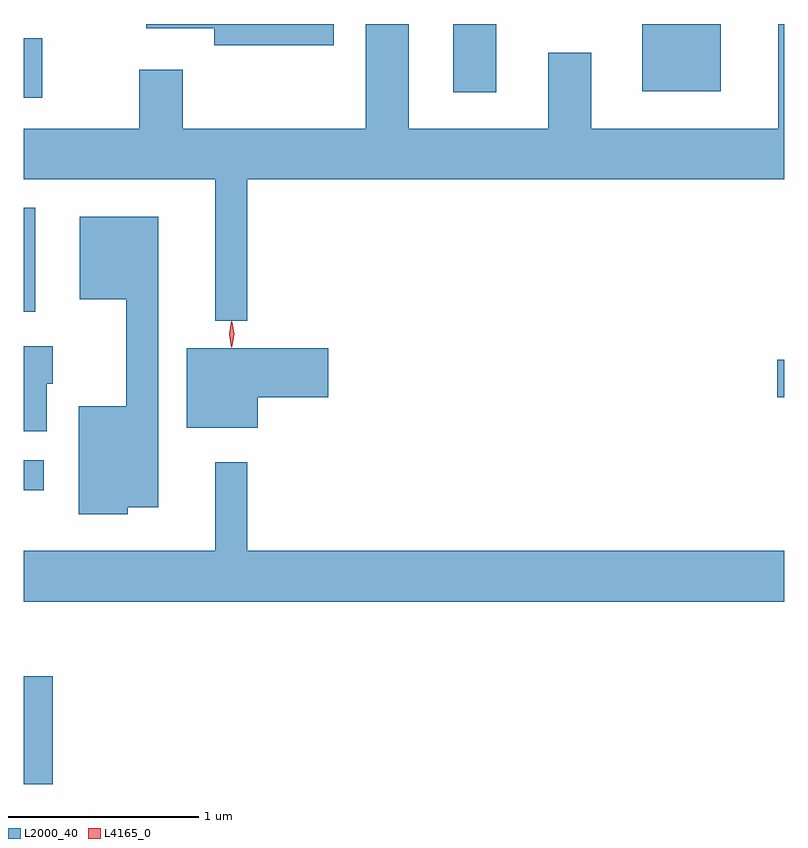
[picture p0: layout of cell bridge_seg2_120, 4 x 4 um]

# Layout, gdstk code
import gdstk
lib = gdstk.Library(unit=1e-6, precision=1e-09)
def R(c, l, rs):  # rectangles x0, y0, x1, y1
    for r in rs: c.add(gdstk.rectangle(r[:2], r[2:], *l))
def P(c, l, *ps):  # polygons
    for p in ps: c.add(gdstk.Polygon(p, *l))
L2000_40 = (2000, 40)
L4165_0 = (4165, 0)

bridge_seg2_120 = lib.new_cell('bridge_seg2_120')
R(bridge_seg2_120, L2000_40, [(984.603,1049.576,984.754,1050.144), (984.603,1051.121,984.708,1051.279), (988.566,1051.611,988.603,1051.809), (984.603,1052.061,984.664,1052.608), (984.603,1053.186,984.699,1053.499), (986.861,1053.216,987.089,1053.574), (987.856,1053.221,988.269,1053.574)])
P(bridge_seg2_120, L2000_40, [(985.779,1052.756),(988.603,1052.756),(988.603,1053.574),(988.571,1053.574),(988.571,1053.024),(987.589,1053.024),(987.589,1053.424),(987.361,1053.424),(987.361,1053.024),(986.629,1053.024),(986.629,1053.574),(986.401,1053.574),(986.401,1053.024),(985.439,1053.024),(985.439,1053.334),(985.211,1053.334),(985.211,1053.024),(984.603,1053.024),(984.603,1052.756),(985.611,1052.756),(985.611,1052.013),(985.779,1052.013)],
  [(986.234,1053.574),(985.246,1053.574),(985.246,1053.551),(985.606,1053.551),(985.606,1053.461),(986.234,1053.461)],
  [(985.149,1051.031),(985.309,1051.031),(985.309,1052.559),(984.896,1052.559),(984.896,1052.126),(985.141,1052.126),(985.141,1051.564),(984.891,1051.564),(984.891,1050.996),(985.149,1050.996)],
  [(984.724,1051.681),(984.754,1051.681),(984.754,1051.879),(984.603,1051.879),(984.603,1051.431),(984.724,1051.431)],
  [(985.834,1051.611),(986.204,1051.611),(986.204,1051.869),(985.461,1051.869),(985.461,1051.451),(985.834,1051.451)],
  [(988.603,1050.804),(985.779,1050.804),(985.779,1051.268),(985.611,1051.268),(985.611,1050.804),(984.603,1050.804),(984.603,1050.536),(988.603,1050.536)])
P(bridge_seg2_120, L4165_0, [(985.695,1051.874),(985.685,1051.942),(985.694,1052.01),(985.695,1052.01),(985.695,1052.01),(985.705,1051.942),(985.696,1051.874),(985.696,1051.874)],
  [(985.698,1051.88),(985.689,1051.944),(985.698,1052.006),(985.698,1052.007),(985.699,1052.006),(985.709,1051.944),(985.7,1051.88),(985.699,1051.88)])

lib.write_gds('bridge_seg2_120.gds')
